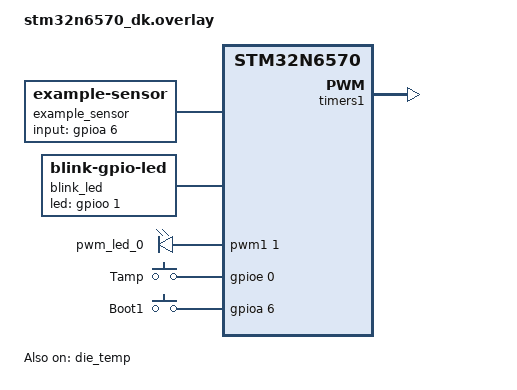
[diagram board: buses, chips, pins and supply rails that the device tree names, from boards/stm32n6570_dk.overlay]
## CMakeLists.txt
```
#
# Copyright (c) 2021 Nordic Semiconductor ASA
# Copyright (c) 2025 HU Inc.
#
# SPDX-License-Identifier: Apache-2.0
#

cmake_minimum_required(VERSION 3.13.1)
find_package(Zephyr REQUIRED HINTS $ENV{ZEPHYR_BASE})

project(app LANGUAGES C)

target_sources(app PRIVATE
    src/camera.c
    src/hup_server.c
    src/main.c
    src/pwmleds.c
)

if(CONFIG_APP_CAMERA_BARCODE OR (CONFIG_ZXC_USE_HEAP AND
   CONFIG_ZXC_ALLOCATOR_CUSTOM AND CONFIG_VIDEO_BUFFER_USE_SHARED_MULTI_HEAP))
    target_sources(app PRIVATE src/scanner_zxc.c)
endif()

target_sources_ifdef(CONFIG_APP_HEAP_SELF_TEST app PRIVATE src/heap_test.c)
```

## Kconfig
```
#
# Copyright (c) 2021 Nordic Semiconductor ASA
# Copyright (c) 2025 HU Inc.
#
# SPDX-License-Identifier: Apache-2.0
#
# This file is the application Kconfig entry point. All application Kconfig
# options can be defined here or included via other application Kconfig files.
# You can browse these options using the west targets menuconfig (terminal) or
# guiconfig (GUI).

# App defaults must precede the upstream ZXC module defaults.
choice ZXC_ALLOCATOR_BACKEND
	default ZXC_ALLOCATOR_CUSTOM if VIDEO_BUFFER_USE_SHARED_MULTI_HEAP
endchoice

menu "Zephyr"
source "Kconfig.zephyr"
endmenu

module = APP
module-str = APP
source "subsys/logging/Kconfig.template.log_config"

config BOARD_HAS_VBAT_BATTERY
  bool
  default n
  prompt "Board has VBAT battery support"
  help
    Enable VBAT battery support if the board has a battery connected to
    the VBAT pin of the MCU. This allows the RTC and backup registers to
    retain their content when the main power supply is turned off.

config APP_HEAP_SELF_TEST
	bool "Test the selected SRAM heap at boot"
	depends on HU_PALLOC || SHARED_MULTI_HEAP || COMMON_LIBC_MALLOC
	select SYS_HEAP_RUNTIME_STATS if SOC_SERIES_STM32N6X && COMMON_LIBC_MALLOC
	help
	  Test unused SRAM pools immediately after registration at boot.
	  HU palloc takes priority; otherwise test the shared multi heap.
	  Check allocation, alignment, memory patterns, reallocation and
	  data preservation, then release every test allocation.
	  On STM32N6 with the libc heap using unused primary SRAM, also test
	  its maximum allocation after libc initialization and before device
	  or application heap users. Check the SRAM end, uncached memory
	  patterns and restored free space. A failure stops boot.
	  A failed check stops application startup and reports an error.

mainmenu "Video capture to LVGL sample application"

menu "Video capture configuration"

config VIDEO_SOURCE_CROP_LEFT
	int "Crop area left value"
	default 0
	help
	   Left value of the crop area within the video source.

config VIDEO_SOURCE_CROP_TOP
	int "Crop area top value"
	default 0
	help
	   Top value of the crop area within the video source.

config VIDEO_SOURCE_CROP_WIDTH
	int "Crop area width value"
	default 0
	help
	   Width value of the crop area within the video source.
	   If set to 0, the crop is not applied.

config VIDEO_SOURCE_CROP_HEIGHT
	int "Crop area height value"
	default 0
	help
	   Height value of the crop area within the video source.
	   If set to 0, the crop is not applied.

config VIDEO_WIDTH
	int "Define the width of the video"
	default 320

config VIDEO_HEIGHT
	int "Define the height of the video"
	default 240

config VIDEO_HFLIP
	bool "Horizontal flip"
	default n

config APP_CAMERA_CAPTURE
	bool "HU camera snapshot transfer"
	depends on VIDEO && HU_PACKET
	help
	  Keep one native-format snapshot for chunked transfer to a PC over HU.
	  Reserves APP_CAMERA_FRAME_CAPACITY bytes for an unmodified snapshot.
	  Uses the video shared heap when enabled, otherwise the video memory
	  region or application RAM.

config APP_CAMERA_FRAME_CAPACITY
	int "Maximum bytes per camera frame"
	default 4194304 if SOC_SERIES_STM32N6X
	default 153600
	range 32 33554400
	help
	  Capacity of each DMA buffer and the snapshot buffer. Runtime formats
	  must fit this limit as well as the maximum width and height.

config APP_CAMERA_PIXEL_FORMAT
	string "Camera output pixel format"
	default "RGBP"
	help
	  Initial Zephyr FourCC (RGBP is RGB565). Any format advertised by the
	  camera driver can be selected using HU cam_config at runtime.

config APP_CAMERA_MAX_WIDTH
	int "Maximum runtime camera width"
	default 1920 if SOC_SERIES_STM32N6X
	default VIDEO_WIDTH
	range 1 4094

config APP_CAMERA_MAX_HEIGHT
	int "Maximum runtime camera height"
	default 1080 if SOC_SERIES_STM32N6X
	default VIDEO_HEIGHT
	range 1 4094

config VIDEO_VFLIP
	bool "Vertical flip"
	default n

config APP_CAMERA_BARCODE
	bool "Recognize camera barcodes with ZXC"
	depends on APP_CAMERA_CAPTURE && VIDEO_BUFFER_USE_SHARED_MULTI_HEAP
	depends on ZXC
	help
	  Scan all ZXC default readable formats in a separate thread. Image and
	  heap0 workspace use the video shared heap. Heap1 uses the selected ZXC
	  allocator (the video shared heap by default when enabled). LCD and HU expose
	  results; requested HU snapshots are decoded from the same source frame.

if APP_CAMERA_BARCODE

config APP_CAMERA_BARCODE_WIDTH
	int "Maximum recognition width"
	default 800
	range 48 1920

config APP_CAMERA_BARCODE_HEIGHT
	int "Maximum recognition height"
	default 480
	range 32 1080

config APP_CAMERA_BARCODE_INTERVAL_MS
	int "Periodic recognition interval (milliseconds)"
	default 2000
	range 100 60000

config APP_CAMERA_BARCODE_STACK_SIZE
	int "Recognition thread stack size"
	default 32768
	range 8192 131072

config APP_CAMERA_BARCODE_WORKSPACE_LIMIT
	int "Maximum decoder workspace allocation (bytes)"
	depends on !ZXC_USE_HEAP
	default 6291456
	range 524288 16777216

endif

endmenu
```

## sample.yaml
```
# 
# Copyright (c) 2025 HU Inc.
#
# SPDX-License-Identifier: Apache-2.0
#
# This file is provided so that the application can be compiled using Twister,
# the Zephyr testing tool. In this file, multiple combinations can be specified,
# so that you can easily test all of them locally or in CI.
sample:
  description: Example application
  name: example-application 
common:
  build_only: true
  integration_platforms:
    - custom_plank
    - frdm_mcxa156
    - jz_f407vet6
    - nucleo_f302r8
    - stm32n6570_dk
tests:
  app.default: {}
  app.debug:
    extra_overlay_confs:
      - debug.conf
```

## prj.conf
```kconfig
#
# Copyright (c) 2021 Nordic Semiconductor ASA
# Copyright (c) 2025 HU Inc.
#
# SPDX-License-Identifier: Apache-2.0
#
# This file contains selected Kconfig options for the application.

CONFIG_BUILD_OUTPUT_BIN=y
CONFIG_BUILD_OUTPUT_HEX=y
CONFIG_REBOOT=y

CONFIG_STDOUT_CONSOLE=y
CONFIG_PRINTK=y
CONFIG_UART_CONSOLE_DEBUG_SERVER_HOOKS=n
CONFIG_CONSOLE_HANDLER=y
CONFIG_CONSOLE_SUBSYS=y
CONFIG_CONSOLE_GETCHAR=y
CONFIG_CONSOLE_GETCHAR_BUFSIZE=1024
CONFIG_CONSOLE_PUTCHAR_BUFSIZE=1024

CONFIG_RTC=y
CONFIG_BBRAM=y
CONFIG_RTC_SHELL=y

# Kernel options
CONFIG_FPU=y
CONFIG_MAIN_STACK_SIZE=5120
CONFIG_POLL=y
CONFIG_ENTROPY_GENERATOR=y
CONFIG_INIT_STACKS=y

CONFIG_DEVICE_DT_METADATA=y

CONFIG_LED=y
CONFIG_LED_PWM=y
CONFIG_BLINK=n

CONFIG_PWM=y
CONFIG_PWM_EVENT=y
CONFIG_PWM_SHELL=y

CONFIG_LOG=y
CONFIG_LOG_PRINTK=y
CONFIG_LOG_BUFFER_SIZE=8192

CONFIG_UART_INTERRUPT_DRIVEN=y
CONFIG_UART_ASYNC_API=n

CONFIG_UART_LINE_CTRL=y

CONFIG_USB_DEVICE_STACK_NEXT=y
CONFIG_USBD_CDC_ACM_CLASS=y
CONFIG_CDC_ACM_SERIAL_INITIALIZE_AT_BOOT=n

CONFIG_USBD_LOG_LEVEL_ERR=y
CONFIG_UDC_DRIVER_LOG_LEVEL_ERR=y
CONFIG_USBD_CDC_ACM_LOG_LEVEL_OFF=y

CONFIG_SAMPLE_USBD_PID=0x0001
CONFIG_SAMPLE_USBD_PRODUCT="USBD CDC ACM sample"

CONFIG_FLASH=y
CONFIG_FLASH_PAGE_LAYOUT=y
CONFIG_FLASH_MAP=y

CONFIG_FILE_SYSTEM=y
CONFIG_FILE_SYSTEM_LITTLEFS=y
CONFIG_FILE_SYSTEM_MKFS=y
CONFIG_FILE_SYSTEM_SHELL=y

CONFIG_NETWORKING=y
CONFIG_NET_IPV4=y
CONFIG_NET_IPV6=n

CONFIG_NET_TCP=y
CONFIG_NET_UDP=y
CONFIG_NET_SOCKETS=y
CONFIG_POSIX_API=y

CONFIG_NET_CONNECTION_MANAGER=y
CONFIG_NET_SOCKETS_NET_MGMT=y
CONFIG_NET_MGMT_EVENT=y

# Network buffers
CONFIG_NET_PKT_RX_COUNT=16
CONFIG_NET_PKT_TX_COUNT=16
CONFIG_NET_BUF_RX_COUNT=64
CONFIG_NET_BUF_TX_COUNT=64
CONFIG_NET_CONTEXT_NET_PKT_POOL=y
CONFIG_NET_BUF_POOL_USAGE=y

CONFIG_NET_DHCPV4=y
CONFIG_NET_DHCPV6=n
CONFIG_NET_CONFIG_SETTINGS=y
CONFIG_NET_CONFIG_AUTO_INIT=y
CONFIG_NET_CONFIG_INIT_TIMEOUT=0
CONFIG_NET_IPV4_FRAGMENT=y
#CONFIG_NET_CONFIG_MY_IPV4_ADDR="192.168.1.253"
#CONFIG_NET_CONFIG_MY_IPV4_NETMASK="255.255.255.0"
#CONFIG_NET_CONFIG_MY_IPV4_GW="192.168.1.254"

CONFIG_NET_IPV4_FRAGMENT=y
CONFIG_NET_IPV4_ACD=y
CONFIG_NET_IPV4_PMTU=y

CONFIG_DNS_RESOLVER=y
CONFIG_DNS_RESOLVER_MAX_SERVERS=2

# Network shell
CONFIG_NET_SHELL=y

# Logging
CONFIG_NET_LOG=y

CONFIG_INIT_STACKS=y

CONFIG_HU=y
CONFIG_HU_APP=y
CONFIG_HU_PACKET=y
CONFIG_HU_PALLOC=n

#CONFIG_WATCHDOG=y
#CONFIG_WDT_DISABLE_AT_BOOT=y

CONFIG_SERIAL=y
CONFIG_UART_USE_RUNTIME_CONFIGURE=y

CONFIG_LEGACY_GENERATED_INCLUDE_PATH=n

# CONFIG_DYNAMIC_THREAD=y
CONFIG_THREAD_CUSTOM_DATA=y
CONFIG_THREAD_MONITOR=y
CONFIG_THREAD_STACK_INFO=y
```

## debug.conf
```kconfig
#
# Copyright (c) 2021 Nordic Semiconductor ASA
# Copyright (c) 2025 HU Inc.
#
# SPDX-License-Identifier: Apache-2.0
#
# This is a Kconfig fragment which can be used to enable debug-related options
# in the application. See the README for more details.

# compiler
CONFIG_DEBUG_OPTIMIZATIONS=y

# logging
CONFIG_LOG=y
CONFIG_APP_LOG_LEVEL_DBG=y
```

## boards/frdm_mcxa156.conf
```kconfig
#
# Copyright (c) 2025 HU Inc.
#
# SPDX-License-Identifier: Apache-2.0
#

CONFIG_ZMS=y
CONFIG_SETTINGS=y
CONFIG_SETTINGS_ZMS=y
CONFIG_SETTINGS_RUNTIME=y
#CONFIG_RETENTION_BOOTLOADER_INFO_OUTPUT_SETTINGS=y

# boot loader
CONFIG_BOOTLOADER_MCUBOOT=y
CONFIG_MCUBOOT_GENERATE_CONFIRMED_IMAGE=y
CONFIG_MCUBOOT_SIGNATURE_KEY_FILE="${WEST_TOPDIR}/etc/ssl/certs/mcuboot_sign-rsa-2048.pem"

CONFIG_RETENTION=n
CONFIG_RETENTION_BOOTLOADER_INFO=n
CONFIG_RETENTION_BOOTLOADER_INFO_TYPE_MCUBOOT=n
CONFIG_RETAINED_MEM=n
CONFIG_RETAINED_MEM_ZEPHYR_RAM=n
CONFIG_RETENTION_BOOTLOADER_INFO_OUTPUT_FUNCTION=n
```

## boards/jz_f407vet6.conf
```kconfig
#
# Copyright (c) 2025 HU Inc.
#
# SPDX-License-Identifier: Apache-2.0
#

CONFIG_ZMS=y
CONFIG_SETTINGS=y
CONFIG_SETTINGS_ZMS=y
CONFIG_SETTINGS_RUNTIME=y
#CONFIG_RETENTION_BOOTLOADER_INFO_OUTPUT_SETTINGS=y

CONFIG_BOARD_HAS_VBAT_BATTERY=y

# boot loader
CONFIG_BOOTLOADER_MCUBOOT=y
CONFIG_MCUBOOT_GENERATE_CONFIRMED_IMAGE=y
CONFIG_MCUBOOT_SIGNATURE_KEY_FILE="${WEST_TOPDIR}/etc/ssl/certs/mcuboot_sign-rsa-2048.pem"
```

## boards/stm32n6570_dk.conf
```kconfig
#
# Copyright (c) 2025 HU Inc.
#
# SPDX-License-Identifier: Apache-2.0
#

CONFIG_ZMS=y
CONFIG_SETTINGS=y
CONFIG_SETTINGS_ZMS=y
CONFIG_SETTINGS_RUNTIME=y

CONFIG_DMA=y
CONFIG_PWM=y
CONFIG_PWM_STM32=y
CONFIG_STM32_BACKUP_PROTECTION=y

# On-chip temperature and VBAT sensors
CONFIG_SENSOR=y
CONFIG_STM32N6_DTS=y
CONFIG_STM32_VBAT=y
CONFIG_SENSOR_SHELL=y
# Keep sensor shell RTIO buffers in the application's AXISRAM.
CONFIG_RTIO_BLOCK_POOL_PLACEMENT_DEFAULT=y
CONFIG_RTIO_SQE_PLACEMENT_DEFAULT=y
# Keep unrelated sensors disabled when enabling the sensor subsystem.
CONFIG_EXAMPLE_SENSOR=n
CONFIG_VL53L5CX=n

# SPI
CONFIG_SPI=y

# memmory map
CONFIG_FLASH=y
#CONFIG_STM32_MEMMAP=y
CONFIG_FLASH_STM32_NOR_MEMMAP=y
# Match the /flash DTS cache size for automatic per-file cache heap sizing.
CONFIG_FS_LITTLEFS_CACHE_SIZE=4096
#CONFIG_STM32_XSPIM=y

# RTC
CONFIG_RTC=y
CONFIG_RTC_CALIBRATION=n

CONFIG_ENTROPY_STM32_RNG=y
CONFIG_ENTROPY_GENERATOR=y

CONFIG_RETENTION=y
CONFIG_RETENTION_BOOTLOADER_INFO=y
CONFIG_RETENTION_BOOTLOADER_INFO_TYPE_MCUBOOT=y
CONFIG_RETAINED_MEM=y
CONFIG_RETAINED_MEM_ZEPHYR_RAM=y
CONFIG_RETENTION_BOOTLOADER_INFO_OUTPUT_FUNCTION=y

# RAM load
CONFIG_XIP=n
CONFIG_IS_BOOTLOADER=n
CONFIG_MCUBOOT_BOOTLOADER_MODE_RAM_LOAD=y

# boot loader
CONFIG_BOOTLOADER_MCUBOOT=y
CONFIG_MCUBOOT_GENERATE_CONFIRMED_IMAGE=y
CONFIG_MCUBOOT_SIGNATURE_KEY_FILE="${WEST_TOPDIR}/etc/ssl/certs/mcuboot_sign-rsa-2048.pem"

CONFIG_CRC_HW_HANDLER=n

CONFIG_VIDEO=y
CONFIG_VIDEO_WIDTH=800
CONFIG_VIDEO_HEIGHT=480
CONFIG_VIDEO_BUFFER_POOL_NUM_MAX=3
CONFIG_SHARED_MULTI_HEAP=y
CONFIG_VIDEO_BUFFER_USE_SHARED_MULTI_HEAP=y
CONFIG_VIDEO_BUFFER_SMH_ATTRIBUTE=2
CONFIG_VIDEO_BUFFER_POOL_ZEPHYR_REGION=n
# Keep static LVGL buffers outside the PSRAM region registered as a shared heap.
CONFIG_LV_Z_VDB_ZEPHYR_REGION_NAME="PSRAM_DISPLAY"
CONFIG_APP_CAMERA_FRAME_CAPACITY=4194304
CONFIG_USE_STM32_MW_ISP=y
CONFIG_APP_CAMERA_CAPTURE=y
CONFIG_ZXC=y
CONFIG_ZXC_USE_HEAP=y
CONFIG_APP_CAMERA_BARCODE=y
CONFIG_APP_CAMERA_BARCODE_STACK_SIZE=8192
CONFIG_MAIN_STACK_SIZE=1024
CONFIG_HU_PALLOC=n
CONFIG_APP_HEAP_SELF_TEST=y

CONFIG_DISPLAY=y
CONFIG_DISPLAY_LOG_LEVEL_ERR=y

CONFIG_LVGL=y
CONFIG_LV_USE_IMAGE=y
CONFIG_LV_Z_MEM_POOL_SIZE=16384
CONFIG_LV_USE_PERF_MONITOR=y
CONFIG_LV_USE_DROPDOWN=y
CONFIG_LV_USE_SYSMON=y

# MicroPython
CONFIG_MICROPYTHON=n
#CONFIG_MICROPYTHON_LIGHT=y

# MicroPython options
CONFIG_MICROPY_CONFIGFILE="mpconfigport.h"
CONFIG_MICROPY_VFS_FAT=y
CONFIG_MICROPY_VFS_LFS2=y


#CONFIG_DEBUG_OPTIMIZATIONS=y
#CONFIG_PWM_LOG_LEVEL_DBG=y
#CONFIG_FLASH_LOG_LEVEL_DBG=y
```

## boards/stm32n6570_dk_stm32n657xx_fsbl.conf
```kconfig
#
# Copyright (c) 2025 HU Inc.
#
# SPDX-License-Identifier: Apache-2.0
#

CONFIG_BUILD_OUTPUT_BIN=y
CONFIG_BUILD_OUTPUT_HEX=y

CONFIG_REBOOT=y
CONFIG_BOOT_BANNER=y

# memmory map
CONFIG_FLASH=y
CONFIG_FLASH_STM32_NOR_MEMMAP=y
CONFIG_STM32_XSPIM=y

# RTC
CONFIG_RTC=y
CONFIG_RTC_CALIBRATION=n
CONFIG_STM32_BACKUP_PROTECTION=y

CONFIG_ENTROPY_STM32_RNG=y
CONFIG_ENTROPY_GENERATOR=y

CONFIG_RETENTION=y						# - Enables retention system
CONFIG_RETAINED_MEM=y					# - Enables retained memory driver
CONFIG_RETAINED_MEM_ZEPHYR_RAM=y
CONFIG_BOOT_SHARE_DATA=y				# - Enables shared data
CONFIG_BOOT_SHARE_DATA_BOOTINFO=y		# - Enables boot information shared data type
CONFIG_BOOT_SHARE_BACKEND_RETENTION=y	# - Stores shared data using retention/blinfo subsystem

# RAM load application
CONFIG_BOOT_RAM_LOAD=y
CONFIG_MULTIPLE_EXECUTABLE_RAM_REGIONS=n

# Use the default MCUBoot PEM key file (BOOT_SIGNATURE_KEY_FILE)
CONFIG_BOOT_RSA_PSA=y
CONFIG_BOOT_SIGNATURE_TYPE_RSA=y
CONFIG_BOOT_SIGNATURE_TYPE_RSA_LEN=2048
CONFIG_BOOT_SIGNATURE_KEY_FILE="${WEST_TOPDIR}/etc/ssl/certs/mcuboot_sign-rsa-2048.pem"

# Note that the MCUboot operating mode is not set here as sysbuild will
# automatically set it for both the application and MCUboot images itself
CONFIG_MCUBOOT_DOWNGRADE_PREVENTION=y
CONFIG_MCUBOOT_LOG_LEVEL_DBG=n

CONFIG_CRC_HW_HANDLER=n
```

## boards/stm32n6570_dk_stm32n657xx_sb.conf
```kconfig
#
# Copyright (c) 2025 HU Inc.
#
# SPDX-License-Identifier: Apache-2.0
#

CONFIG_BUILD_OUTPUT_BIN=y
CONFIG_BUILD_OUTPUT_HEX=y

CONFIG_REBOOT=y
CONFIG_CONSOLE=n
CONFIG_UART_CONSOLE=n
CONFIG_XIP=n

# External NOR flash
CONFIG_FLASH=y
CONFIG_FLASH_STM32_NOR_MEMMAP=y
CONFIG_STM32_XSPIM=y
CONFIG_STREAM_FLASH=y
CONFIG_FLASH_MAP=y
CONFIG_FILE_SYSTEM=y
CONFIG_FILE_SYSTEM_LITTLEFS=y
CONFIG_BOOT_MAX_IMG_SECTORS_AUTO=y
CONFIG_FLASH_PAGE_LAYOUT=y
CONFIG_FLASH_JESD216_API=y

# Match the application's RAM-load image and the normal FSBL verification key.
CONFIG_BOOT_RAM_LOAD=y
CONFIG_MULTIPLE_EXECUTABLE_RAM_REGIONS=n
CONFIG_BOOT_RSA_PSA=y
CONFIG_BOOT_SIGNATURE_TYPE_RSA=y
CONFIG_BOOT_SIGNATURE_TYPE_RSA_LEN=2048
CONFIG_BOOT_SIGNATURE_KEY_FILE="${WEST_TOPDIR}/etc/ssl/certs/mcuboot_sign-rsa-2048.pem"
CONFIG_MCUBOOT_DOWNGRADE_PREVENTION=y

# RTC
CONFIG_RTC=y
CONFIG_RTC_CALIBRATION=n
CONFIG_STM32_BACKUP_PROTECTION=y

CONFIG_ENTROPY_STM32_RNG=y
CONFIG_ENTROPY_GENERATOR=y

CONFIG_CRC=y
CONFIG_CRC_HW_HANDLER=n

CONFIG_BASE64=y
CONFIG_NET_BUF=y
CONFIG_ENABLE_MGMT_PERUSER=y

# Multithreading
CONFIG_MULTITHREADING=y

# Enable Serial Recovery
CONFIG_MCUBOOT_SERIAL=y
CONFIG_MCUBOOT_INDICATION_LED=y
CONFIG_MCUBOOT_SERIAL_DIRECT_IMAGE_UPLOAD=n
CONFIG_MCUBOOT_BOOTUTIL_LIB=y

CONFIG_BOOT_BANNER=y
CONFIG_BOOT_SERIAL_CDC_ACM=n
CONFIG_BOOT_SERIAL_UART=y
CONFIG_BOOT_SERIAL_WAIT_FOR_DFU=y
# Dedicated recovery image: retain the long UART DFU window (about 24.9 days).
CONFIG_BOOT_SERIAL_WAIT_FOR_DFU_TIMEOUT=2147483647
CONFIG_BOOT_SERIAL_ENTRANCE_GPIO=y
CONFIG_BOOT_SERIAL_IMG_GRP_HASH=y
CONFIG_BOOT_SERIAL_IMG_GRP_IMAGE_STATE=y
CONFIG_BOOT_SERIAL_IMG_GRP_SLOT_INFO=y
CONFIG_BOOT_SERIAL_NO_APPLICATION=y
CONFIG_BOOT_MGMT_ECHO=y

CONFIG_BOOT_SHARE_DATA=y				# - Enables shared data
CONFIG_BOOT_SHARE_DATA_BOOTINFO=y		# - Enables boot information shared data type
CONFIG_BOOT_SHARE_BACKEND_RETENTION=y	# - Stores shared data using retention/blinfo subsystem

CONFIG_RETENTION=y						# - Enables retention system
CONFIG_RETAINED_MEM=y					# - Enables retained memory driver
CONFIG_RETAINED_MEM_ZEPHYR_RAM=y

CONFIG_SYSTEM_WORKQUEUE_STACK_SIZE=2304
# Use MCUboot's default main-stack budget for PSA RSA verification.
CONFIG_MAIN_STACK_SIZE=10240

# Enable HW stack protection
CONFIG_HW_STACK_PROTECTION=y
```

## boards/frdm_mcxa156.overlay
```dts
/*
 * Copyright (c) 2025 HU Inc.
 *
 * SPDX-License-Identifier: Apache-2.0
 */

/ {
	example_sensor: example-sensor {
		compatible = "zephyr,example-sensor";
		input-gpios = <&gpio0 6 GPIO_ACTIVE_LOW>;
	};

	blink_led: blink-led {
		compatible = "blink-gpio-led";
		led-gpios = <&gpio3 0 GPIO_ACTIVE_LOW>;
		blink-period-ms = <1000>;
	};
	aliases {
		hup-uart = &cdc_acm_uart0;
		pwm-led0 = &flexpwm0_pwm0;
	};
};

&zephyr_udc0 {
	cdc_acm_uart0: cdc_acm_uart0 {
		compatible = "zephyr,cdc-acm-uart";
		label = "Zephyr USB CDC-ACM";
		status = "okay";
	};
};
```

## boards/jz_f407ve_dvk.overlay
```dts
/*
 * Copyright (c) 2025 HU Inc.
 *
 * SPDX-License-Identifier: Apache-2.0
 */

 / {
	example_sensor: example-sensor {
		compatible = "zephyr,example-sensor";
		input-gpios = <&gpiob 2 GPIO_ACTIVE_HIGH>;
	};

	blink_led: blink-led {
		compatible = "blink-gpio-led";
		led-gpios = <&gpioe 15 GPIO_ACTIVE_HIGH>;
		blink-period-ms = <1000>;
	};
};
```

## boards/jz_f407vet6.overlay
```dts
/*
 * Copyright (c) 2025 HU Inc.
 *
 * SPDX-License-Identifier: Apache-2.0
 */

/ {
	example_sensor: example-sensor {
		compatible = "zephyr,example-sensor";
		input-gpios = <&gpiob 2 GPIO_ACTIVE_LOW>;
	};

	blink_led: blink-led {
		compatible = "blink-gpio-led";
		led-gpios = <&gpioe 15 GPIO_ACTIVE_LOW>;
		blink-period-ms = <1000>;
	};
	aliases {
		hup-uart = &cdc_acm_uart0;
	};
};

&zephyr_udc0 {
	cdc_acm_uart0: cdc_acm_uart0 {
		compatible = "zephyr,cdc-acm-uart";
		label = "Zephyr USB CDC-ACM";
		status = "okay";
	};
};
```

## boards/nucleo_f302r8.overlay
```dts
/*
 * Copyright (c) 2021 Nordic Semiconductor ASA
 * Copyright (c) 2025 HU Inc.
 *
 * SPDX-License-Identifier: Apache-2.0
 */

/* This devicetree overlay file will be automatically picked by the Zephyr
 * build system when building the sample for the nucleo_f302r8 board. It shows
 * how the example-application can be built on sample boards already provided
 * by Zephyr.
 */

/ {
	example_sensor: example-sensor {
		compatible = "zephyr,example-sensor";
		input-gpios = <&gpioc 13 (GPIO_PULL_UP | GPIO_ACTIVE_LOW)>;
	};

	blink_led: blink-led {
		compatible = "blink-gpio-led";
		led-gpios = <&gpiob 13 GPIO_ACTIVE_HIGH>;
		blink-period-ms = <1000>;
	};
};

&gpioc {
	status = "okay";
};
```

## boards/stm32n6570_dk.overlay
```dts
/*
 * Copyright (c) 2025 HU Inc. All rights reserved.
 *
 * SPDX-License-Identifier: Apache-2.0
 */

#include "stm32n6570_dk_app_common.dtsi"
#include <st/n6/stm32n6-dts.dtsi>

#include <zephyr/dt-bindings/pwm/pwm.h>
#include <zephyr/dt-bindings/pwm/pwm_ifx_tcpwm.h>
#include <zephyr/dt-bindings/pwm/ra_pwm.h>
#include <zephyr/dt-bindings/pwm/stm32_pwm.h>

/delete-node/ &red_led_2;

/* The PSRAM driver registers all of &psram as SMH_REG_ATTR_EXTERNAL.
 * Reserve the last 2 MiB for static display buffers, excluding the final
 * cache line required by STM32N6 erratum ES0620, section 2.4.5.
 */
&psram {
	reg = <0x90000000 DT_SIZE_M(30)>;
};

&ltdc {
	ext-sdram = <&display_ram>;
};

/ {
	display_ram: memory@91e00000 {
		compatible = "zephyr,memory-region";
		reg = <0x91e00000 (DT_SIZE_M(2) - 32)>;
		zephyr,memory-region = "PSRAM_DISPLAY";
		zephyr,memory-attr = <DT_MEM_ARM(ATTR_MPU_RAM)>;
	};

	chosen {
		zephyr,dtcm = &dtcm;
		zephyr,itcm = &itcm;
		micropy,console = &cdc_acm_uart1;
	};

	example_sensor: example-sensor {
		compatible = "zephyr,example-sensor";
		input-gpios = <&gpioa 6 GPIO_ACTIVE_HIGH>;
	};

	blink_led: blink-led {
		compatible = "blink-gpio-led";
		led-gpios = <&gpioo 1 GPIO_ACTIVE_HIGH>;
		blink-period-ms = <1000>;
	};

	pwmleds: pwmleds {
		compatible = "pwm-leds";
		status = "okay";

		pwm_led_0: pwm_led_0 {
			status = "okay";
			pwms = <&pwm1 1 PWM_MSEC(2000) (PWM_POLARITY_NORMAL | STM32_PWM_COMPLEMENTARY)>;
		};
	};
	gpio_keys {
		compatible = "gpio-keys";

		tamp_button: tamp {
			label = "Tamp";
			gpios = <&gpioe 0 GPIO_ACTIVE_HIGH>;
			zephyr,code = <INPUT_KEY_1>;
		};
		boot1_button: boot1 {
			label = "Boot1";
			gpios = <&gpioa 6 GPIO_ACTIVE_HIGH>;
			zephyr,code = <INPUT_KEY_2>;
		};
	};
	aliases {
		die-temp0 = &die_temp;
		vbat0 = &vbat;
		/delete-property/ led1;
		pwm-led0 = &pwm_led_0;
		hup-uart = &cdc_acm_uart0;
		//watchdog0 = &iwdg;
	};
};

&die_temp {
	status = "okay";
};

&iwdg {
        status = "disabled";
};

&wwdg {
        status = "disabled";
};

&ahbsram {
	status = "okay";
};

&ahbsram1 {
	status = "okay";
};

&ahbsram2 {
	status = "okay";
};

&timers1 {
	status = "okay";
	st,countermode = <0x10>; /* downcounter */

	/delete-node/ pwm1;
	pwm1: pwm {
		status = "okay";
		pinctrl-0 = <&tim1_ch1_pe9 &tim1_ch1n_pg10>;
		pinctrl-names = "default";
	};
};
```

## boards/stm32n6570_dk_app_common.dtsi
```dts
/*
 * Copyright (c) 2025 HU Inc. All rights reserved.
 *
 * SPDX-License-Identifier: Apache-2.0
 */

#include <st/n6/stm32n657x0-sram.dtsi>

/ {
	/* MCUboot prepares these banks before loading the application. */
	system_sram: system-sram {
		compatible = "st,stm32n6-system-sram";
	};

	chosen {
		zephyr,bootloader-info = &boot_info0;
	};
	/* Reserve the final 1 KiB; backup_sram owns hardware initialization. */
	backup_sram_retained@3c001c00 {
		compatible = "zephyr,memory-region", "mmio-sram";
		reg = <0x3c001c00 DT_SIZE_K(1)>;
		zephyr,memory-region = "RetainedMem";
		status = "okay";

		retainedmem {
			compatible = "zephyr,retained-ram";
			status = "okay";
			#address-cells = <1>;
			#size-cells = <1>;

			boot_info0: boot_info0@0 {
				compatible = "zephyr,retention";
				status = "okay";
				reg = <0x0 0x100>;
				prefix = [08 04];
				checksum = <1>;
			};

			boot_info1: boot_info1@100 {
				compatible = "zephyr,retention";
				status = "okay";
				reg = <0x100 0x300>;
				prefix = [00 11 55 88 fa bc];
			};
		};
	};

	fstab {
		compatible = "zephyr,fstab";
		lfs: lfs {
			compatible = "zephyr,fstab,littlefs";
			read-size=<256>;
			prog-size=<256>;
			cache-size=<4096>;
			lookahead-size=<256>;
			block-cycles=<512>;
			partition = <&lfs0_partition>;
			mount-point = "/flash";
			automount;
		};
	};

	aliases {
		rtc = &rtc;
		bbram = &bbram;
	};
};

&clk_lse {
	driving-capability = <1>;
	status = "okay";
};

&clk_lse {
	status = "okay";
};

&clk_lsi {
	status = "disabled";
};

/* Use a dedicated 200 MHz kernel clock for XSPI2 in both MCUboot and the app. */
&ic3 {
	pll-src = <1>;
	ic-div = <12>;
	status = "okay";
};

&rtc {
	clocks = <&rcc STM32_CLOCK(APB4, 16U)>,
		 <&rcc STM32_SRC_LSE RTC_SEL(1)>;
	status = "okay";

	bbram: backup_regs {
		compatible = "st,stm32-bbram";
		st,backup-regs = <32>;
		status = "okay";
	};
};

&backup_sram {
	reg = <0x3c000000 DT_SIZE_K(7)>;
	status = "okay";
};

&axisram12 {
	ranges = <0x34000000 0x34000000 DT_SIZE_K(4224)>;
};

&axisram1 {
	compatible = "mmio-sram";
	/delete-property/ zephyr,memory-region;
	reg = <0x34000000 DT_SIZE_K(4224)>;
};

&axisram2 {
	compatible = "mmio-sram";
	/delete-property/ zephyr,memory-region;
};

&axisram3 {
	compatible = "mmio-sram";
	/delete-property/ zephyr,memory-region;
	/delete-property/ zephyr,memory-attr;
	status = "okay";
};

&axisram4 {
	compatible = "mmio-sram";
	/delete-property/ zephyr,memory-region;
	/delete-property/ zephyr,memory-attr;
	status = "okay";
};

&axisram5 {
	compatible = "mmio-sram";
	/delete-property/ zephyr,memory-region;
	/delete-property/ zephyr,memory-attr;
	status = "okay";
};

&axisram6 {
	compatible = "mmio-sram";
	/delete-property/ zephyr,memory-region;
	/delete-property/ zephyr,memory-attr;
	status = "okay";
};

&itcm {
	status = "okay";
};

&dtcm {
	status = "okay";
};

&zephyr_udc0 {
	cdc_acm_uart0: cdc_acm_uart0 {
		compatible = "zephyr,cdc-acm-uart";
		label = "Zephyr USB CDC-ACM0";
	};
	cdc_acm_uart1: cdc_acm_uart1 {
		compatible = "zephyr,cdc-acm-uart";
		label = "Zephyr USB CDC-ACM1";
	};
};

&xspim {
    status = "okay";
};

&xspi2 {
	clocks = <&rcc STM32_CLOCK(AHB5, 12)>,
		 <&rcc STM32_SRC_IC3 XSPI2_SEL(2)>;
};

&crc {
    status = "okay";
};

&rng {
    status = "okay";
};

&ext_flash {
	partitions {
		compatible = "fixed-partitions";
		#address-cells = <1>;
		#size-cells = <1>;

		/delete-node/ partition@10000;
		/delete-node/ partition@210000;
		/delete-node/ partition@410000;

		slot0_partition: partition@80000 {
			label = "image-0";
			reg = <0x00080000 DT_SIZE_K(1536)>;
		};

		slot1_partition: partition@200000 {
			label = "image-1";
			reg = <0x00200000 DT_SIZE_K(1536)>;
		};

		storage_partition: partition@400000 {
			label = "storage";
			reg = <0x00400000 DT_SIZE_M(1)>;
		};

		lfs0_partition: partition@1000000 {
			label = "littlefs";
			reg = <0x01000000 DT_SIZE_M(112)>;
		};
	};
};

&mac {
	/delete-property/ nvmem-cells;
	/delete-property/ nvmem-cell-names;
};

/* CACHEAXI and VENCRAM are reserved for the application's system RAM. */
&npu {
	status = "disabled";
};

&npu_cache {
	status = "disabled";
};

&venc {
	status = "disabled";
};

&venc_ram {
	/* Initialized by system_sram; never expose a second allocator alias. */
	status = "disabled";
};
```

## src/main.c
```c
/*
 * Copyright (c) 2025 HU Inc. All rights reserved.
 *
 * SPDX-License-Identifier: Apache-2.0
 */

#include <zephyr/logging/log.h>
LOG_MODULE_REGISTER(app, CONFIG_APP_LOG_LEVEL);

#include "main.h"
#include <huerrno.h>

#include <zephyr/kernel.h>
#include <zephyr/device.h>
#include <zephyr/version.h>
#include <zephyr/drivers/sensor.h>
#include <zephyr/drivers/rtc.h>
#include <zephyr/drivers/gpio.h>
#include <zephyr/logging/log_ctrl.h>

#include <zephyr/net/net_if.h>
#include <zephyr/net/net_core.h>
#include <zephyr/net/net_mgmt.h>
#include <zephyr/net/net_event.h>
#include <zephyr/net/conn_mgr_monitor.h>

#include <zephyr/shell/shell.h>

#include <zephyr/sys/reboot.h>
#include <zephyr/sys/util.h>
#include <zephyr/app_version.h>

#include <app/usb.h>
#include <app/app_api.h>
#include <hu/bootloader.h>

#include <hu/hupacket.h>
#include <hu/palloc.h>
#ifdef CONFIG_SHARED_MULTI_HEAP
#include <zephyr/multi_heap/shared_multi_heap.h>
#endif
#ifdef CONFIG_APP_HEAP_SELF_TEST
#include "heap_test.h"
#endif

#if CONFIG_HU_APP
#include <net_sample_common.h>
#endif
#include <soc.h>

#include <time.h>
#include <errno.h>
#include <limits.h>

#define MY_PORT     				4241
#define HUP_UDP_THREAD_STACK_SIZE	2048
#define HUP_UART_THREAD_STACK_SIZE	2048

struct app_data app =
{
	.connected = false,
	.die_temp_status = -EAGAIN,
	.vbat_status = -EAGAIN,

	.hup_uart = NULL,
	.hup_udp = NULL,
};

#if CONFIG_HU_APP
#if CONFIG_NET_L2_ETHERNET
static struct z_thread_stack_element app_stack_sect
	__aligned(Z_KERNEL_STACK_OBJ_ALIGN)
	hup_udp_stack_area[K_KERNEL_STACK_LEN(HUP_UDP_THREAD_STACK_SIZE)];
#endif
static struct z_thread_stack_element app_stack_sect
	__aligned(Z_KERNEL_STACK_OBJ_ALIGN)
	hup_uart_stack_area[K_KERNEL_STACK_LEN(HUP_UART_THREAD_STACK_SIZE)];

#if CONFIG_SOC_FAMILY_STM32
#define MAGIC_VALUE 0xA500FF5A
#if CONFIG_SOC_SERIES_STM32N6X && DT_NODE_HAS_STATUS(DT_NODELABEL(backup_sram), okay)
/** Value stored in backup SRAM. */
struct backup_store __stm32_backup_sram_section backup;
#elif DT_HAS_COMPAT_STATUS_OKAY(st_stm32_backup_sram)
#define BACKUP_DEV_COMPAT st_stm32_backup_sram
/** Value stored in backup SRAM. */
static struct backup_store __stm32_backup_sram_section backup;
#else
#undef MAGIC_VALUE
#endif
#endif
#endif

#if DT_HAS_ALIAS(rtc)
static const struct device *const rtc = DEVICE_DT_GET(DT_ALIAS(rtc));
#endif

#define SLEEP_TIME_MS   1000
#define SENSOR_PERIOD_MS 1000
#define LED0_NODE DT_ALIAS(led0)
static const struct gpio_dt_spec _led = GPIO_DT_SPEC_GET(LED0_NODE, gpios);
static struct k_spinlock die_temp_lock;
static struct k_spinlock vbat_lock;

static void update_die_temp(void)
{
	int rc = -ENOTSUP;
	int32_t temperature_mc = 0;
	int previous_status;

#if defined(CONFIG_SENSOR) && DT_NODE_HAS_STATUS(DT_ALIAS(die_temp0), okay)
	const struct device *dev = DEVICE_DT_GET(DT_ALIAS(die_temp0));
	struct sensor_value temperature;

	if (!device_is_ready(dev)) {
		rc = -ENODEV;
	} else {
		rc = sensor_sample_fetch_chan(dev, SENSOR_CHAN_DIE_TEMP);
		if (rc == 0) {
			rc = sensor_channel_get(dev, SENSOR_CHAN_DIE_TEMP, &temperature);
		}
		if (rc == 0) {
			temperature_mc = (int32_t)sensor_value_to_milli(&temperature);
		}
	}
#endif

	int64_t now = k_uptime_get();
	k_spinlock_key_t key = k_spin_lock(&die_temp_lock);

	previous_status = app.die_temp_status;
	app.die_temp_status = rc;
	if (rc == 0) {
		app.die_temp_mc = temperature_mc;
		app.die_temp_updated_ms = now;
	}
	k_spin_unlock(&die_temp_lock, key);

	if (rc != 0 && rc != previous_status) {
		LOG_WRN("Die temperature update failed (%d)", rc);
	}
}

static void update_vbat(void)
{
	int rc = -ENOTSUP;
	int32_t voltage_mv = 0;
	int previous_status;

#if defined(CONFIG_SENSOR) && DT_NODE_HAS_STATUS(DT_ALIAS(vbat0), okay)
	const struct device *dev = DEVICE_DT_GET(DT_ALIAS(vbat0));
	struct sensor_value voltage;

	if (!device_is_ready(dev)) {
		rc = -ENODEV;
	} else {
		rc = sensor_sample_fetch_chan(dev, SENSOR_CHAN_VOLTAGE);
		if (rc == 0) {
			rc = sensor_channel_get(dev, SENSOR_CHAN_VOLTAGE, &voltage);
		}
		if (rc == 0) {
			voltage_mv = (int32_t)sensor_value_to_milli(&voltage);
		}
	}
#endif

	int64_t now = k_uptime_get();
	k_spinlock_key_t key = k_spin_lock(&vbat_lock);

	previous_status = app.vbat_status;
	app.vbat_status = rc;
	if (rc == 0) {
		app.vbat_mv = voltage_mv;
		app.vbat_updated_ms = now;
	}
	k_spin_unlock(&vbat_lock, key);

	if (rc != 0 && rc != previous_status) {
		LOG_WRN("VBAT update failed (%d)", rc);
	}
}

#if CONFIG_NET_CONNECTION_MANAGER
#define EVENT_MASK (NET_EVENT_L4_CONNECTED | NET_EVENT_L4_DISCONNECTED)

static void event_handler(struct net_mgmt_event_callback *cb, uint64_t mgmt_event, struct net_if *iface)
{
	ARG_UNUSED(iface);
	ARG_UNUSED(cb);

	if ((mgmt_event & EVENT_MASK) != mgmt_event)
		return;

	if (mgmt_event == NET_EVENT_L4_CONNECTED) {
		if (!app.connected) {
			LOG_INF("app event l4 connected");
			app.connected = true;
		}
		return;
	}

	if (mgmt_event == NET_EVENT_L4_DISCONNECTED) {
		if (app.connected) {
			LOG_INF("app event l4 disconnected");
			app.connected = false;
		}
		return;
	}
}
#endif

static int init_app(void)
{
#if CONFIG_HU_APP
#if CONFIG_NET_IPV4
	struct net_if* iface = net_if_get_default();
	if (net_if_flag_is_set(iface, NET_IF_IPV4)) {
#if CONFIG_NET_CONNECTION_MANAGER
		net_mgmt_init_event_callback(&app.mgmt_cb, event_handler, EVENT_MASK);
		net_mgmt_add_event_callback(&app.mgmt_cb);
		conn_mgr_mon_resend_status();
#endif
		init_vlan();
		init_tunnel();
	}
#endif
	init_bbram();

	return init_app_usb();
#else
	return 0;
#endif
}

static void deinit_app()
{
#if CONFIG_HU_APP
	deinit_hup_server(app.hup_uart, &uart_interrupt);
	deinit_hup_server(app.hup_udp, &udp_server);
#endif
#if CONFIG_HU_APP
#if CONFIG_NET_CONNECTION_MANAGER
	net_mgmt_del_event_callback(&app.mgmt_cb);
#endif
#endif
}

#if DT_HAS_ALIAS(rtc)
#if !defined(CONFIG_BOARD_HAS_VBAT_BATTERY)
static int set_date_time(const struct device *rtc)
{
	struct tm time;
	int ret = 0;
	struct rtc_time tm = {
		.tm_year = 2026 - 1900,
		.tm_mon = 0,
		.tm_mday = 1,
		.tm_hour = 0,
		.tm_min = 0,
		.tm_sec = 0,
	};

    memset(&time, 0, sizeof(time));
    time.tm_mday = tm.tm_mday;
    time.tm_year = tm.tm_year;
    mktime(&time);

	tm.tm_wday = time.tm_wday;
	tm.tm_isdst = time.tm_isdst;
	ret = rtc_set_time(rtc, &tm);
	if (ret < 0) {
		LOG_ERR("Cannot write date time: %d", ret);
		return ret;
	}
	return ret;
}
#endif

static int get_date_time(const struct device *rtc)
{
	int ret = 0;
	struct rtc_time tm;

	ret = rtc_get_time(rtc, &tm);
	if (ret < 0) {
		LOG_ERR("Cannot read date time: %d", ret);
		return ret;
	}

	LOG_INF("RTC date and time: %04d-%02d-%02d %02d:%02d:%02d", tm.tm_year + 1900,
	       tm.tm_mon + 1, tm.tm_mday, tm.tm_hour, tm.tm_min, tm.tm_sec);

	return ret;
}
#endif

#if defined(CONFIG_HU_PALLOC) || defined(CONFIG_SHARED_MULTI_HEAP)
#define APP_SRAM_DTCM DT_NODE_HAS_STATUS(DT_CHOSEN(zephyr_dtcm), okay)
#define APP_SRAM_ITCM DT_NODE_HAS_STATUS(DT_CHOSEN(zephyr_itcm), okay)

#define APP_SRAM_AHBSRAM (IS_ENABLED(CONFIG_STM32N6_EXTRA_SRAM) && \
	DT_NODE_HAS_STATUS(DT_NODELABEL(ahbsram), okay))
#define APP_SRAM_EXTRA APP_SRAM_AHBSRAM

#if APP_SRAM_DTCM || APP_SRAM_ITCM || APP_SRAM_EXTRA
static int sram_add_region(uintptr_t start, uintptr_t base, uintptr_t end, const char *name,
			     bool seed_tcm)
{
	if (start < base || start >= end) {
		LOG_ERR("No unused %s for the SRAM heap", name);
		return -ENOMEM;
	}
#if CONFIG_SOC_SERIES_STM32N6X
	/* Seed TCM ECC with full words before byte accesses. Preserve linked
	 * objects; volatile prevents replacement with byte-oriented memset.
	 */
	if (seed_tcm) {
		for (volatile uint32_t *word = (void*)ROUND_UP(start, sizeof(uint32_t));
			(uintptr_t)word + sizeof(*word) <= end; word++) {
			*word = 0;
		}
		__DSB();
	}
#else
	ARG_UNUSED(seed_tcm);
#endif
#ifdef CONFIG_HU_PALLOC
	size_t before = palloc_stats(NULL, NULL, NULL);
	palloc_init((void*)start, (void*)end);
	size_t after = palloc_stats(NULL, NULL, NULL);
	if (after <= before) {
		LOG_ERR("Cannot register %s palloc region", name);
		return -ENOMEM;
	}
	LOG_INF("palloc %s [%p, %p): added %zu, total free %zu", name,
		(void*)start, (void*)end, after - before, after);
#else
	/* TCM bypasses the cache; the extra SRAM nodes use ATTR_MPU_RAM.
	 * Keep both classes separate from the existing EXTERNAL PSRAM pool.
	 * NON_CACHEABLE describes caching only, not DMA accessibility.
	 */
	struct shared_multi_heap_region region = {
		.attr = seed_tcm ? SMH_REG_ATTR_NON_CACHEABLE : SMH_REG_ATTR_CACHEABLE,
		.addr = ROUND_UP(start, 8U),
	};
	uintptr_t aligned_end = ROUND_DOWN(end, 8U);

	/* Leave room for sys_heap metadata and a usable allocation. */
	if (region.addr >= aligned_end || aligned_end - region.addr < Z_HEAP_MIN_SIZE) {
		LOG_ERR("Too little unused %s for shared multi heap", name);
		return -ENOMEM;
	}
	region.size = aligned_end - region.addr;
	int rc = shared_multi_heap_add(&region, NULL);

	if (rc != 0) {
		LOG_ERR("Cannot register %s shared heap: %d", name, rc);
		return rc;
	}
	LOG_INF("shared heap %s [%p, %p): %zu bytes, attr %u", name,
		(void *)region.addr, (void *)aligned_end, region.size, region.attr);
#ifdef CONFIG_APP_HEAP_SELF_TEST
	rc = shared_heap_self_test(region.addr, aligned_end, name, region.attr);
	if (rc != 0) {
		return rc;
	}
#endif
#endif
	return 0;
}
#endif

#if APP_SRAM_EXTRA
static int sram_add_device_region(const struct device *controller, uintptr_t start,
			   uintptr_t base, uintptr_t end, const char *name)
{
	if (!device_is_ready(controller)) {
		LOG_ERR("%s controller is not ready", name);
		return -ENODEV;
	}
	int rc = sram_add_region(start, base, end, name, false);

#if defined(CONFIG_APP_HEAP_SELF_TEST) && defined(CONFIG_HU_PALLOC)
	if (rc == 0) {
		rc = palloc_added_region_self_test(start, end, name);
	}
#endif
	return rc;
}

/* The generated linker end symbol excludes objects placed in this SRAM. */
#define APP_SRAM_ADD_DEVICE(node, controller) do {                                          \
	extern char UTIL_CAT(UTIL_CAT(__,                                       \
		DT_STRING_TOKEN(node, zephyr_memory_region)), _end)[];           \
	uintptr_t base = DT_REG_ADDR(node);                                     \
	uintptr_t start = (uintptr_t)UTIL_CAT(UTIL_CAT(__,                        \
		DT_STRING_TOKEN(node, zephyr_memory_region)), _end);             \
	rc = sram_add_device_region(DEVICE_DT_GET(controller), start, base,          \
		base + DT_REG_SIZE(node), DT_PROP(node, zephyr_memory_region));  \
	if (rc != 0) { return rc; }                                              \
} while (0)
#endif

static int sram_pools_init(void)
{
#if !defined(CONFIG_HU_PALLOC) && defined(CONFIG_SHARED_MULTI_HEAP)
	/* The PSRAM driver may already have initialized the common pool. */
	int init_rc = shared_multi_heap_pool_init();

	if (init_rc != 0 && init_rc != -EALREADY) {
		return init_rc;
	}
#endif
#if APP_SRAM_DTCM || APP_SRAM_ITCM || APP_SRAM_EXTRA
	int rc;

#if APP_SRAM_DTCM
	LOG_INF("dtcm size %d(0x%08x)"
		, DT_REG_SIZE(DT_CHOSEN(zephyr_dtcm)), DT_REG_SIZE(DT_CHOSEN(zephyr_dtcm)));
	LOG_INF("  start %p end %p", &__dtcm_start, &__dtcm_end);
	LOG_INF("  bss start %p end %p", &__dtcm_bss_start, &__dtcm_bss_end);
	LOG_INF("  noinit start %p end %p", &__dtcm_noinit_start, &__dtcm_noinit_end);
	LOG_INF("  data start %p end %p", &__dtcm_data_start, &__dtcm_data_end);
	LOG_INF("  data load start %p", &__dtcm_data_load_start);
	uintptr_t pool_start = (uintptr_t)&__dtcm_end;
	uintptr_t pool_base = DT_REG_ADDR(DT_CHOSEN(zephyr_dtcm));
	uintptr_t pool_end = pool_base + DT_REG_SIZE(DT_CHOSEN(zephyr_dtcm));
#if DT_NODE_HAS_PROP(DT_CHOSEN(zephyr_dtcm), zephyr_memory_region)
#define APP_DTCM_REGION_END UTIL_CAT(UTIL_CAT(__, \
	DT_STRING_TOKEN(DT_CHOSEN(zephyr_dtcm), zephyr_memory_region)), _end)
	extern char APP_DTCM_REGION_END[];
	pool_start = MAX(pool_start, (uintptr_t)APP_DTCM_REGION_END);
#endif
	rc = sram_add_region(pool_start, pool_base, pool_end, "DTCM", true);
	if (rc != 0) return rc;
#if defined(CONFIG_APP_HEAP_SELF_TEST) && defined(CONFIG_HU_PALLOC)
	rc = palloc_self_test(pool_start, pool_end, "DTCM");
	if (rc != 0) {
		LOG_ERR("palloc DTCM self-test failed: %d", rc);
		return rc;
	}
#endif
#endif

#if APP_SRAM_ITCM
	LOG_INF("itcm size %d(0x%08x)"
		, DT_REG_SIZE(DT_CHOSEN(zephyr_itcm)), DT_REG_SIZE(DT_CHOSEN(zephyr_itcm)));
	LOG_INF("  start %p end %p size %d(0x%08x)"
		, &__itcm_start, &__itcm_end, (size_t)&__itcm_size, (size_t)&__itcm_size);
	LOG_INF("  data load start %p", &__itcm_load_start);
	uintptr_t itcm_start = (uintptr_t)&__itcm_end;
	uintptr_t itcm_base = DT_REG_ADDR(DT_CHOSEN(zephyr_itcm));
	uintptr_t itcm_end = itcm_base + DT_REG_SIZE(DT_CHOSEN(zephyr_itcm));
#if DT_NODE_HAS_PROP(DT_CHOSEN(zephyr_itcm), zephyr_memory_region)
#define APP_ITCM_REGION_END UTIL_CAT(UTIL_CAT(__, \
	DT_STRING_TOKEN(DT_CHOSEN(zephyr_itcm), zephyr_memory_region)), _end)
	extern char APP_ITCM_REGION_END[];
	itcm_start = MAX(itcm_start, (uintptr_t)APP_ITCM_REGION_END);
#endif
	rc = sram_add_region(itcm_start, itcm_base, itcm_end, "ITCM", true);
	if (rc != 0) return rc;
#if defined(CONFIG_APP_HEAP_SELF_TEST) && defined(CONFIG_HU_PALLOC)
#if APP_SRAM_DTCM
	rc = palloc_multi_region_self_test(itcm_start, itcm_end, pool_start, pool_end);
#else
	rc = palloc_self_test(itcm_start, itcm_end, "ITCM");
#endif
	if (rc != 0) {
		LOG_ERR("palloc self-test after ITCM registration failed: %d", rc);
		return rc;
	}
#endif
#endif
#if APP_SRAM_AHBSRAM
	BUILD_ASSERT(DT_NODE_HAS_STATUS(DT_NODELABEL(ahbsram1), okay) &&
		     DT_NODE_HAS_STATUS(DT_NODELABEL(ahbsram2), okay),
		     "AHBSRAM requires both AHB SRAM banks to be enabled");
	BUILD_ASSERT(DT_REG_ADDR(DT_NODELABEL(ahbsram)) ==
		     DT_REG_ADDR(DT_NODELABEL(ahbsram1)) &&
		     DT_REG_ADDR(DT_NODELABEL(ahbsram2)) ==
		     DT_REG_ADDR(DT_NODELABEL(ahbsram1)) +
		     DT_REG_SIZE(DT_NODELABEL(ahbsram1)) &&
		     DT_REG_SIZE(DT_NODELABEL(ahbsram)) ==
		     DT_REG_SIZE(DT_NODELABEL(ahbsram1)) +
		     DT_REG_SIZE(DT_NODELABEL(ahbsram2)),
		     "AHBSRAM must cover both contiguous AHB SRAM banks");
	/* sram_add_device_region checks bank 1; bank 2 must also be ready. */
	if (!device_is_ready(DEVICE_DT_GET(DT_PARENT(DT_NODELABEL(ahbsram2))))) {
		LOG_ERR("AHBSRAM2 controller is not ready");
		return -ENODEV;
	}
	APP_SRAM_ADD_DEVICE(DT_NODELABEL(ahbsram), DT_PARENT(DT_NODELABEL(ahbsram1)));
#endif
	return 0;
#elif defined(CONFIG_HU_PALLOC)
	LOG_ERR("HU palloc requires an enabled SRAM pool");
	return -ENODEV;
#else
	/* No internal regions enabled; the existing shared pools remain usable. */
	return 0;
#endif
}
#endif

int main(void)
{
	uint8_t partition_id = 0xff;
	int led_state = 1;
	int rc;

	LOG_INF("Zephyr Example Application %s/0x%08x, %s, %s", APP_VERSION_STRING, APPVERSION, __DATE__ " " __TIME__, KERNEL_VERSION_EXTENDED_STRING);

#if defined(CONFIG_HU_PALLOC) || defined(CONFIG_SHARED_MULTI_HEAP)
	rc = sram_pools_init();
	if (rc != 0)
		return rc;
#endif

	init_app();

#if CONFIG_HU_APP
	rc = bootloader_active_slot((uint8_t*)&partition_id);
	if (rc != 0) {
		LOG_ERR("ERROR: blinfo/running_slot");
	} else {
		LOG_INF("blinfo/running_slot %d", partition_id);
	}
#endif

#if CONFIG_HU_APP
#if CONFIG_NET_L2_ETHERNET
	LOG_INF("hu packet server start for UDP port %d", MY_PORT);
	app.hup_udp = init_hup_server(&udp_server, "hup_udp"
		, hup_udp_stack_area, K_THREAD_STACK_SIZEOF(hup_udp_stack_area)
		, (void*)MY_PORT, NULL, NULL);
#endif

	LOG_INF("hu packet server start for USB cdc acm uart: %p", &uart_interrupt);
	app.hup_uart = init_hup_server(&uart_interrupt, "hup_acm"
		, hup_uart_stack_area, K_THREAD_STACK_SIZEOF(hup_uart_stack_area)
		, (void*)DEVICE_DT_GET_ONE(zephyr_cdc_acm_uart), (void*)115200, "n81");

#if DT_HAS_ALIAS(rtc)
#if !defined(CONFIG_BOARD_HAS_VBAT_BATTERY)
	set_date_time(rtc);
#endif
	get_date_time(rtc);
#endif
#endif

#ifdef BACKUP_DEV_COMPAT
	const struct device *const dev = DEVICE_DT_GET_ONE(BACKUP_DEV_COMPAT);

	if (!device_is_ready(dev)) {
		LOG_ERR("ERROR: BackUp SRAM device is not ready");
	} else
#endif
#ifdef MAGIC_VALUE
	{
		if (backup.magic == MAGIC_VALUE) {
			LOG_INF("Backup SRAM read: magic=0x%08x", backup.magic);
		} else {
			LOG_INF("Backup SRAM uninitialized, initializing...");
			backup.magic = MAGIC_VALUE;
		}
	}
#endif
	if (!gpio_is_ready_dt(&_led)) {
		led_state = -1;
	} else {
		rc = gpio_pin_configure_dt(&_led, GPIO_OUTPUT_ACTIVE);
		if (rc < 0) {
			led_state = -1;
		}
	}

	int64_t next_sensors = k_uptime_get();
	int64_t next_led = next_sensors;

	while (1) {
		int64_t now = k_uptime_get();

		if (now >= next_sensors) {
			update_die_temp();
			update_vbat();
			now = k_uptime_get();
			/* Keep a fixed cadence and skip missed periods instead of catching up. */
			next_sensors += ((now - next_sensors) / SENSOR_PERIOD_MS + 1)
					* SENSOR_PERIOD_MS;
		}

		if (led_state != -1 && now >= next_led) {
			rc = gpio_pin_toggle_dt(&_led);
			if (rc < 0) {
				led_state = -1;
			} else {
				led_state = !led_state;
				next_led = now + (led_state ? SLEEP_TIME_MS / 10 :
						 SLEEP_TIME_MS - 100);
			}
		}

		int64_t deadline = led_state != -1 ? MIN(next_led, next_sensors) :
						    next_sensors;

		k_sleep(K_TIMEOUT_ABS_MS(deadline));
	}

	deinit_app();
	return 0;
}

#if CONFIG_HU_PACKET
static void _ver(void* h, int argc, const char** argv)
{
	hupacket_ack_response(h, NULL);
	hupacket_record_str(h, NULL, APP_VERSION_EXTENDED_STRING);
	hupacket_record_str(h, NULL, KERNEL_VERSION_STRING);
	hupacket_record_str(h, NULL, __DATE__ " " __TIME__);
	hupacket_send_buffer(h, NULL);
}
DEFINE_HUP_CMD(hup_cmd_ver, "ver", _ver);

/* ACK records: temperature in milli-degrees Celsius, then sample age in ms. */
static void _die_temp(void *h, int argc, const char **argv)
{
	int32_t temperature_mc;
	int64_t updated_ms;
	int status;

	ARG_UNUSED(argv);
	if (argc != 1) {
		hupacket_nak_response(h, NULL, -EINVAL);
		hupacket_send_buffer(h, NULL);
		return;
	}

	k_spinlock_key_t key = k_spin_lock(&die_temp_lock);

	temperature_mc = app.die_temp_mc;
	updated_ms = app.die_temp_updated_ms;
	status = app.die_temp_status;
	k_spin_unlock(&die_temp_lock, key);

	if (status == 0) {
		int age_ms = (int)MIN(k_uptime_get() - updated_ms, INT_MAX);

		hupacket_ack_response(h, NULL);
		hupacket_record_int(h, NULL, temperature_mc);
		hupacket_record_int(h, NULL, age_ms);
	} else {
		hupacket_nak_response(h, NULL, status);
	}
	hupacket_send_buffer(h, NULL);
}
DEFINE_HUP_CMD(hup_cmd_die_temp, "die_temp", _die_temp);

/* ACK records: VBAT in millivolts, then sample age in ms. */
static void _vbat(void *h, int argc, const char **argv)
{
	int32_t voltage_mv;
	int64_t updated_ms;
	int status;

	ARG_UNUSED(argv);
	if (argc != 1) {
		hupacket_nak_response(h, NULL, -EINVAL);
		hupacket_send_buffer(h, NULL);
		return;
	}

	k_spinlock_key_t key = k_spin_lock(&vbat_lock);

	voltage_mv = app.vbat_mv;
	updated_ms = app.vbat_updated_ms;
	status = app.vbat_status;
	k_spin_unlock(&vbat_lock, key);

	if (status == 0) {
		int age_ms = (int)MIN(k_uptime_get() - updated_ms, INT_MAX);

		hupacket_ack_response(h, NULL);
		hupacket_record_int(h, NULL, voltage_mv);
		hupacket_record_int(h, NULL, age_ms);
	} else {
		hupacket_nak_response(h, NULL, status);
	}
	hupacket_send_buffer(h, NULL);
}
DEFINE_HUP_CMD(hup_cmd_vbat, "vbat", _vbat);

static void _reboot_timer_handler(struct k_timer *timer)
{
	sys_reboot(SYS_REBOOT_COLD);
}
static void _reboot(void*h, int argc, const char** argv)
{
	struct k_timer* reboot_timer;
	hupacket_ack_response(h, NULL);
	hupacket_send_buffer(h, NULL);
	log_flush();

	reboot_timer = palloc(sizeof(struct k_timer));
	if (!reboot_timer) {
		sys_reboot(SYS_REBOOT_COLD);
	} else {
		k_timer_init(reboot_timer, _reboot_timer_handler, NULL);
		k_timer_start(reboot_timer, K_MSEC(1500), K_NO_WAIT);
	}
}
DEFINE_HUP_CMD(hup_cmd_reboot, "reboot", _reboot);
#endif
```

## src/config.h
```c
/*
 * Copyright (c) 2025 HU Inc.
 *
 * SPDX-License-Identifier: Apache-2.0
 */

#ifndef __CONFIG_H__
#define __CONFIG_H__

#include <stdint.h>
#include <stddef.h>

struct config {
	uint32_t ip;
	uint32_t nm;
	uint32_t gw;

	int baud;
	char parity;
	char data_bits;
	char stop_bits;
};

#endif // __CONFIG_H__
```

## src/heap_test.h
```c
/*
 * Copyright (c) 2025 HU Inc. All rights reserved.
 *
 * SPDX-License-Identifier: Apache-2.0
 */

#ifndef APP_HEAP_TEST_H
#define APP_HEAP_TEST_H

#include <stdint.h>

#if defined(CONFIG_SOC_SERIES_STM32N6X) && defined(CONFIG_COMMON_LIBC_MALLOC) && \
    CONFIG_COMMON_LIBC_MALLOC_ARENA_SIZE < 0 && !defined(CONFIG_USERSPACE) && \
    !defined(CONFIG_MMU)
#define APP_LIBC_SRAM_HEAP_TEST 1
int libc_sram_heap_self_test(void);
#endif

#if CONFIG_HU_PALLOC
int palloc_self_test(uintptr_t start, uintptr_t end, const char *name);
int palloc_added_region_self_test(uintptr_t start, uintptr_t end, const char *name);
int palloc_multi_region_self_test(uintptr_t itcm_start, uintptr_t itcm_end,
    uintptr_t dtcm_start, uintptr_t dtcm_end);
#elif defined(CONFIG_SHARED_MULTI_HEAP)
int shared_heap_self_test(uintptr_t start, uintptr_t end, const char *name,
    unsigned int attr);
#endif

#endif
```

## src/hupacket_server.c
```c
/*
 * Copyright (c) 2021 TiaC Systems
 * Copyright (c) 2025 HU Inc.
 *
 * SPDX-License-Identifier: Apache-2.0
 */

#include <app/udp.h>
#include <app/app_api.h>
#include <hu/hupacket.h>

#include <zephyr/kernel.h>
#include <zephyr/net/socket.h>
#include <zephyr/posix/sys/socket.h>
#include <zephyr/posix/unistd.h>
#include <zephyr/logging/log.h>

#include <huerrno.h>
#include <stdio.h>

LOG_MODULE_DECLARE(hup_server, CONFIG_LOG_DEFAULT_LEVEL);

#define MY_PORT     4241

struct handle
{
	void* hup;
	void* drv;
	char buffer[RECV_BUFFER_SIZE];
};

void* init_hup_server(const struct app_api* api, void* arg1, void* arg2, void* arg3)
{
	struct handle* h;

	h = malloc(sizeof(struct handle));
	if (h == NULL)
	{
		LOG_ERR("Not enough memory");
		return NULL;
	}

	h->drv = api->init(arg1, arg2, arg3);
	h->hup = init_hupacket(NULL, api->send, h->drv);
	if (h->drv != NULL && h->hup != NULL)
	{
		int received;
		while (1)
		{
			received = api->recv(h->drv, h->buffer, sizeof(h->buffer));
			if (received < 0)
				NET_ERR("UDP : Connection error %d", errno);
			else if (received)
				process_hupacket(h->hup, h->buffer, received);
		}
	}
	LOG_ERR("can not start hupacket udp");
}
```

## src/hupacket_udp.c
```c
/*
 * Copyright (c) 2021 TiaC Systems
 * Copyright (c) 2025 HU Inc.
 *
 * SPDX-License-Identifier: Apache-2.0
 */

#include <zephyr/logging/log.h>
LOG_MODULE_DECLARE(app, CONFIG_LOG_DEFAULT_LEVEL);

#include <app/udp.h>
#include <hu/hupacket.h>

#include <zephyr/kernel.h>
#include <zephyr/net/socket.h>
#include <zephyr/posix/sys/socket.h>
#include <zephyr/posix/unistd.h>

#include <huerrno.h>
#include <stdio.h>

#define MY_PORT     4241

struct hup_udp_data
{
    int sock;
	struct sockaddr client;
	socklen_t client_len;
	char buffer[RECV_BUFFER_SIZE];

    void* h;
};

static ssize_t udp_send(const void* buffer, size_t size, void* user_data)
{
	struct hup_udp_data* data = (struct hup_udp_data*)user_data;
	ssize_t ret = sendto(data->sock, buffer, size, 0, &data->client, data->client_len);

	if (ret < 0)
	{
		NET_ERR("UDP: Failed to send %d", errno);
		ret = -errno;
	}
	return ret;
}

static void hup_udp_thread(void* arg1, void* arg2, void* arg3)
{
	struct hup_udp_data* data = (struct hup_udp_data*)arg1;
	int received;

	data->h = init_hupacket(NULL, udp_send, arg1);
	if (data->h != NULL)
	{
	    data->sock = init_udp(INADDR_ANY, MY_PORT);
		data->client_len = sizeof(data->client);
		while (1)
		{
			received = recvfrom(data->sock, data->buffer, sizeof(data->buffer), 0,
				&data->client, &data->client_len);

			if (received < 0)
				NET_ERR("UDP : Connection error %d", errno);
			else if (received)
				process_hupacket(data->h, data->buffer, received);
		}
	}
	LOG_ERR("can not start hupacket udp");
}

static struct hup_udp_data hup_udp_data;
K_THREAD_DEFINE(pudp, 1024, hup_udp_thread, (void*)&hup_udp_data, NULL, NULL, 5, 0, 0);
```

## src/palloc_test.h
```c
/*
 * Copyright (c) 2025 HU Inc. All rights reserved.
 *
 * SPDX-License-Identifier: Apache-2.0
 */

#ifndef APP_PALLOC_TEST_H
#define APP_PALLOC_TEST_H
#include <stdint.h>
int palloc_self_test(uintptr_t start, uintptr_t end, const char *name);
int palloc_added_region_self_test(uintptr_t start, uintptr_t end, const char *name);
int palloc_multi_region_self_test(uintptr_t itcm_start, uintptr_t itcm_end,
    uintptr_t dtcm_start, uintptr_t dtcm_end);
#endif
```
